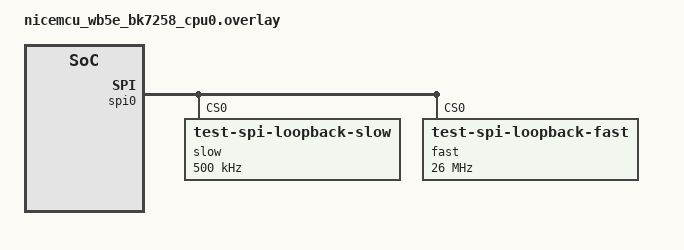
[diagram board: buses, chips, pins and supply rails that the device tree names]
/*
 * Copyright The Zephyr Project Contributors
 *
 * SPDX-License-Identifier: Apache-2.0
 */

/* GPIO35 (MOSI) wired to GPIO36 (MISO) */
&spi0 {
	slow@0 {
		compatible = "test-spi-loopback-slow";
		reg = <0>;
		spi-max-frequency = <500000>;
	};

	fast@0 {
		compatible = "test-spi-loopback-fast";
		reg = <0>;
		spi-max-frequency = <26000000>;
	};
};
